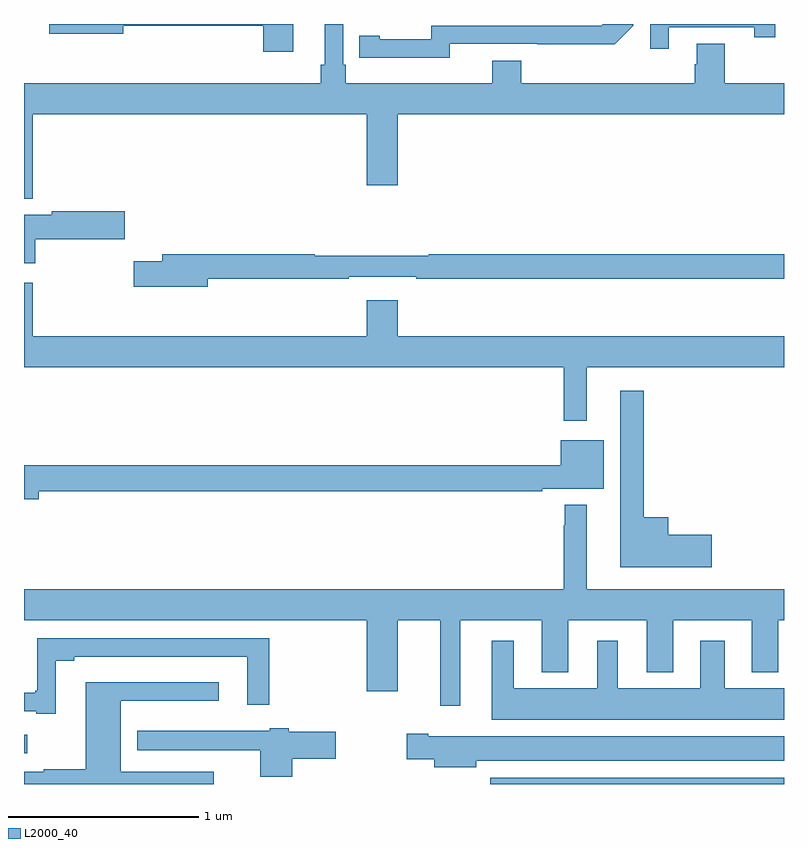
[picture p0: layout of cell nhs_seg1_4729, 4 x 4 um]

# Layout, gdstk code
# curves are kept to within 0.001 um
import gdstk
lib = gdstk.Library(unit=1e-6, precision=1e-09)
def R(c, l, rs):  # rectangles x0, y0, x1, y1
    for r in rs: c.add(gdstk.rectangle(r[:2], r[2:], *l))
def P(c, l, *ps):  # polygons
    for p in ps: c.add(gdstk.Polygon(p, *l))
L2000_40 = (2000, 40)

nhs_seg1_4729 = lib.new_cell('nhs_seg1_4729')
R(nhs_seg1_4729, L2000_40, [(369.455,556.199,371,556.233), (367,556.362,367.018,556.458)])
P(nhs_seg1_4729, L2000_40, [(370.393,560.181),(370.844,560.181),(370.844,560.13),(370.955,560.13),(370.955,560.199),(370.296,560.199),(370.296,560.07),(370.393,560.07)],
  [(368.416,560.199),(367.134,560.199),(367.134,560.147),(367.522,560.147),(367.522,560.19),(368.258,560.19),(368.258,560.052),(368.416,560.052)],
  [(369.24,560.094),(370.108,560.093),(370.206,560.19),(370.206,560.199),(370.047,560.199),(370.038,560.19),(369.144,560.19),(369.144,560.118),(368.872,560.118),(368.872,560.138),(368.764,560.138),(368.764,560.022),(369.24,560.021)],
  [(367.045,559.724),(368.804,559.724),(368.804,559.35),(368.968,559.35),(368.968,559.724),(371,559.724),(371,559.888),(370.689,559.888),(370.689,560.096),(370.541,560.096),(370.541,559.986),(370.529,559.986),(370.529,559.888),(369.617,559.888),(369.617,560.005),(369.464,560.005),(369.464,559.888),(368.693,559.888),(368.693,559.984),(368.679,559.984),(368.679,560.199),(368.582,560.199),(368.582,559.984),(368.563,559.984),(368.563,559.888),(367,559.888),(367,559.28),(367.045,559.28)],
  [(367.06,559.067),(367.531,559.067),(367.531,559.214),(367.146,559.214),(367.146,559.195),(367,559.195),(367,558.941),(367.06,558.941)],
  [(367.966,558.858),(368.708,558.858),(368.708,558.87),(369.064,558.87),(369.064,558.858),(371,558.858),(371,558.986),(369.131,558.986),(369.131,558.979),(368.531,558.979),(368.531,558.986),(367.727,558.986),(367.727,558.95),(367.578,558.95),(367.578,558.815),(367.966,558.815)],
  [(368.804,558.745),(368.804,558.556),(367.045,558.556),(367.045,558.838),(367,558.838),(367,558.392),(369.84,558.392),(369.84,558.111),(369.961,558.111),(369.961,558.392),(371,558.392),(371,558.556),(368.968,558.556),(368.968,558.745)],
  [(370.621,557.51),(370.39,557.51),(370.39,557.602),(370.261,557.602),(370.261,558.268),(370.139,558.268),(370.139,557.339),(370.621,557.339)],
  [(367.078,557.74),(369.728,557.74),(369.728,557.753),(370.051,557.753),(370.051,558.007),(369.824,558.007),(369.824,557.876),(367,557.876),(367,557.698),(367.078,557.698)],
  [(367,557.06),(368.804,557.06),(368.804,556.686),(368.968,556.686),(368.968,557.06),(369.191,557.06),(369.191,556.611),(369.295,556.611),(369.295,557.06),(369.725,557.06),(369.725,556.787),(369.865,556.787),(369.865,557.06),(370.277,557.06),(370.277,556.787),(370.417,556.787),(370.417,557.06),(370.829,557.06),(370.829,556.787),(370.969,556.787),(370.969,557.06),(371,557.06),(371,557.224),(369.961,557.224),(369.961,557.668),(369.846,557.668),(369.846,557.561),(369.84,557.561),(369.84,557.224),(367,557.224)],
  [(367.168,556.849),(367.264,556.849),(367.264,556.868),(368.174,556.868),(368.174,556.617),(368.291,556.617),(368.291,556.965),(367.07,556.965),(367.07,556.69),(367.059,556.69),(367.059,556.679),(367,556.679),(367,556.581),(367.064,556.581),(367.064,556.569),(367.168,556.569)],
  [(371,556.702),(370.687,556.702),(370.687,556.954),(370.559,556.954),(370.559,556.702),(370.126,556.702),(370.126,556.954),(370.016,556.954),(370.016,556.702),(369.577,556.702),(369.577,556.954),(369.461,556.954),(369.461,556.538),(371,556.538)],
  [(367.998,556.263),(367.51,556.263),(367.51,556.637),(368.026,556.637),(368.026,556.735),(367.325,556.735),(367.325,556.276),(367.105,556.276),(367.105,556.263),(367,556.263),(367,556.199),(367.998,556.199)],
  [(368.411,556.333),(368.641,556.333),(368.641,556.475),(368.394,556.475),(368.394,556.493),(368.294,556.493),(368.294,556.48),(367.595,556.48),(367.595,556.376),(368.243,556.376),(368.243,556.236),(368.411,556.236)],
  [(369.379,556.322),(371,556.322),(371,556.45),(369.127,556.45),(369.127,556.463),(369.015,556.463),(369.015,556.328),(369.158,556.328),(369.158,556.286),(369.379,556.286)])

lib.write_gds('nhs_seg1_4729.gds')
